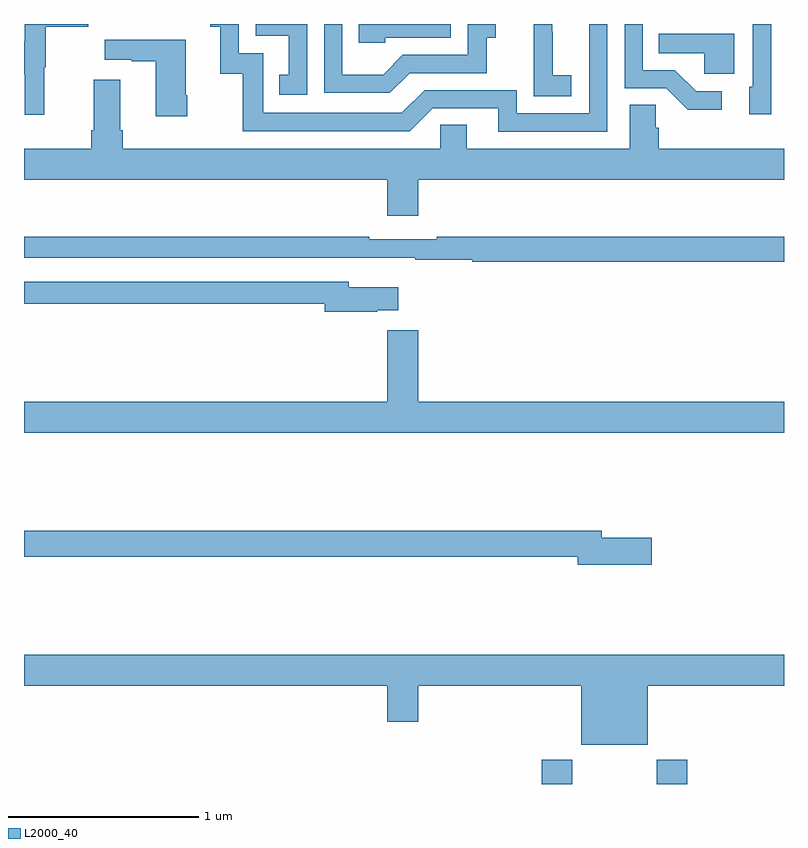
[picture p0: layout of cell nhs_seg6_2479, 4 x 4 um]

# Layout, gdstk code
import gdstk
lib = gdstk.Library(unit=1e-6, precision=1e-09)
def R(c, l, rs):  # rectangles x0, y0, x1, y1
    for r in rs: c.add(gdstk.rectangle(r[:2], r[2:], *l))
def P(c, l, *ps):  # polygons
    for p in ps: c.add(gdstk.Polygon(p, *l))
L2000_40 = (2000, 40)

nhs_seg6_2479 = lib.new_cell('nhs_seg6_2479')
R(nhs_seg6_2479, L2000_40, [(261.725,933.5,261.885,933.628), (262.33,933.5,262.49,933.628)])
P(nhs_seg6_2479, L2000_40, [(261.031,937.242),(261.435,937.242),(261.435,937.427),(261.484,937.427),(261.484,937.5),(261.336,937.5),(261.336,937.338),(260.994,937.338),(260.89,937.234),(260.676,937.234),(260.676,937.5),(260.58,937.5),(260.58,937.137),(260.926,937.137)],
  [(261.88,937.231),(261.782,937.231),(261.782,937.46),(261.78,937.46),(261.78,937.5),(261.683,937.5),(261.683,937.327),(261.682,937.327),(261.682,937.121),(261.88,937.121)],
  [(260.901,937.428),(261.246,937.428),(261.246,937.5),(260.761,937.5),(260.761,937.401),(260.901,937.401)],
  [(259.106,937.272),(259.114,937.272),(259.114,937.486),(259.337,937.486),(259.337,937.5),(259.004,937.5),(259.004,937.409),(259,937.409),(259,937.235),(259.004,937.235),(259.004,937.023),(259.106,937.023)],
  [(262.672,937.146),(262.537,937.146),(262.426,937.257),(262.257,937.257),(262.257,937.5),(262.161,937.5),(262.161,937.161),(262.38,937.161),(262.493,937.049),(262.672,937.049)],
  [(262.071,937.5),(261.865,937.5),(261.865,937.498),(261.975,937.498),(261.975,937.029),(261.594,937.029),(261.594,937.152),(261.108,937.152),(260.988,937.032),(260.259,937.032),(260.259,937.347),(260.13,937.347),(260.13,937.5),(259.98,937.5),(259.98,937.485),(260.033,937.485),(260.033,937.239),(260.151,937.239),(260.151,936.936),(261.03,936.936),(261.15,937.056),(261.497,937.056),(261.497,936.933),(262.071,936.933)],
  [(260.49,937.5),(260.22,937.5),(260.22,937.437),(260.393,937.437),(260.393,937.233),(260.344,937.233),(260.344,937.128),(260.49,937.128)],
  [(262.932,937.5),(262.835,937.5),(262.835,937.474),(262.836,937.474),(262.836,937.17),(262.817,937.17),(262.817,937.026),(262.932,937.026)],
  [(262.738,937.45),(262.342,937.45),(262.342,937.346),(262.581,937.346),(262.581,937.238),(262.738,937.238)],
  [(259.86,937.126),(259.852,937.126),(259.852,937.417),(259.425,937.417),(259.425,937.313),(259.568,937.313),(259.568,937.303),(259.694,937.303),(259.694,937.014),(259.86,937.014)],
  [(261.076,936.68),(263,936.68),(263,936.844),(262.34,936.844),(262.34,936.953),(262.326,936.953),(262.326,937.076),(262.187,937.076),(262.187,936.844),(261.331,936.844),(261.331,936.971),(261.192,936.971),(261.192,936.844),(259.52,936.844),(259.52,936.94),(259.507,936.94),(259.507,937.207),(259.367,937.207),(259.367,936.94),(259.355,936.94),(259.355,936.844),(259,936.844),(259,936.68),(260.912,936.68),(260.912,936.492),(261.076,936.492)],
  [(263,936.379),(261.172,936.379),(261.172,936.366),(260.816,936.366),(260.816,936.379),(259,936.379),(259,936.27),(260.806,936.27),(260.806,936.269),(261.058,936.269),(261.058,936.258),(261.358,936.258),(261.358,936.25),(263,936.25)],
  [(260.858,935.993),(260.971,935.993),(260.971,936.115),(260.71,936.115),(260.71,936.144),(259,936.144),(259,936.028),(260.582,936.028),(260.582,935.986),(260.858,935.986)],
  [(263,935.512),(261.076,935.512),(261.076,935.887),(260.912,935.887),(260.912,935.512),(259,935.512),(259,935.348),(263,935.348)],
  [(262.303,934.796),(262.042,934.796),(262.042,934.832),(259,934.832),(259,934.696),(261.914,934.696),(261.914,934.654),(262.303,934.654)],
  [(262.282,934.016),(263,934.016),(263,934.18),(259,934.18),(259,934.016),(260.912,934.016),(260.912,933.828),(261.076,933.828),(261.076,934.016),(261.932,934.016),(261.932,933.707),(262.282,933.707)])

lib.write_gds('nhs_seg6_2479.gds')
